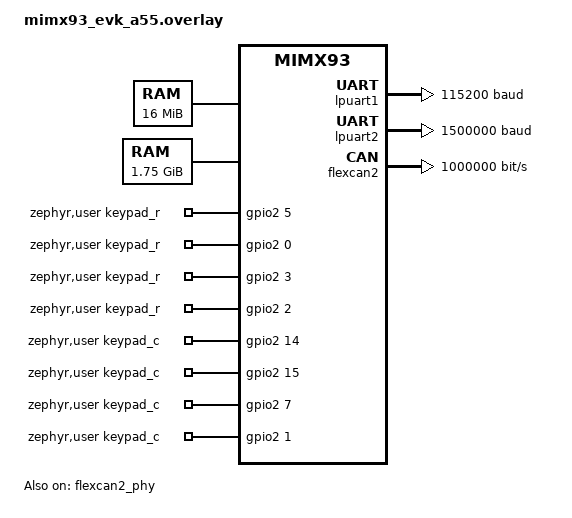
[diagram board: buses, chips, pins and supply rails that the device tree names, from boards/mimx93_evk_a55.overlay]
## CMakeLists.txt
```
# SPDX-License-Identifier: Apache-2.0

cmake_minimum_required(VERSION 3.20.0)

find_package(Zephyr REQUIRED HINTS $ENV{ZEPHYR_BASE})
project(ebike_data_source)

FILE(GLOB app_sources
    src/*.c
)

target_include_directories(app PRIVATE
    src
)

target_sources(app PRIVATE ${app_sources})
```

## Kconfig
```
# Copyright (c) 2022 Henrik Brix Andersen <henrik@brixandersen.dk>
# SPDX-License-Identifier: Apache-2.0

menu "Ebike data source demo"

config EDS_CAN_FRAME_ID_BASE
	hex "CAN ID"
	default 0x100
	range 0x000 0x7fd
	help
	  CAN frame id base. 3 CAN frame ids are used in this demo.

config EDS_CAN_FD_MODE
	bool "Send CAN-FD format frames"
	select CAN_FD_MODE
    default n
	help
	  Selects CAN_FD_MODE

config EDS_COMM_WFM_OUT
	bool "Send simulation data to draw waveform"
	default n
	help
	  Send simulation data via selected uart to draw waveform

module = EDS_MAIN
module-str = ebike data source main thread
source "subsys/logging/Kconfig.template.log_config"

module = EDS_COMM
module-str = ebike data source comm thread
source "subsys/logging/Kconfig.template.log_config"

endmenu

source "Kconfig.zephyr"
```

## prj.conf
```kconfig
## DEVICE ##
CONFIG_PINCTRL=y
CONFIG_PINCTRL_DYNAMIC=y
CONFIG_CLOCK_CONTROL=y
CONFIG_GPIO=y
CONFIG_SERIAL=y
CONFIG_UART_INTERRUPT_DRIVEN=y
CONFIG_I2C=y
CONFIG_I2C_CALLBACK=y
CONFIG_CAN=y
CONFIG_CAN_FD_MODE=n
CONFIG_CAN_RX_TIMESTAMP=y
CONFIG_GPIO_INIT_PRIORITY=10
CONFIG_I2C_INIT_PRIORITY=15
CONFIG_GPIO_HOGS_INIT_PRIORITY=25
CONFIG_CAN_TRANSCEIVER_INIT_PRIORITY=40
CONFIG_CAN_INIT_PRIORITY=45

## KERNEL ##
CONFIG_XIP=y
CONFIG_USE_DT_CODE_PARTITION=y

CONFIG_SPEED_OPTIMIZATIONS=y
CONFIG_SCHED_SCALABLE=y
CONFIG_WAITQ_SCALABLE=y

CONFIG_PICOLIBC=y
# CONFIG_PICOLIBC_USE_MODULE is not set
CONFIG_COMMON_LIBC_MALLOC_ARENA_SIZE=67108864

CONFIG_MAIN_STACK_SIZE=16384
CONFIG_SYSTEM_WORKQUEUE_STACK_SIZE=16384
CONFIG_HEAP_MEM_POOL_SIZE=16777216

CONFIG_EVENTS=y
CONFIG_NOTIFY=y
CONFIG_PRINTK_SYNC=y
CONFIG_CBPRINTF_LIBC_SUBSTS=y

## SHELL ##
CONFIG_CONSOLE=y
CONFIG_UART_CONSOLE=y
CONFIG_LOG=y
CONFIG_LOG_MAX_LEVEL=3
CONFIG_LOG_DEFAULT_LEVEL=2
CONFIG_LOG_SPEED=y
CONFIG_SHELL=y
CONFIG_SHELL_PROMPT_UART="zephyr:~$ "
CONFIG_SHELL_BACKEND_SERIAL_LOG_MESSAGE_QUEUE_TIMEOUT=1000
CONFIG_SHELL_BACKEND_SERIAL_LOG_MESSAGE_QUEUE_SIZE=4096
CONFIG_SHELL_STACK_SIZE=16384

## EDS ##
CONFIG_EDS_CAN_FRAME_ID_BASE=0x100
CONFIG_EDS_COMM_WFM_OUT=y
CONFIG_EDS_MAIN_LOG_LEVEL_WRN=y
CONFIG_EDS_COMM_LOG_LEVEL_WRN=y
```

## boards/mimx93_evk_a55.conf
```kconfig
CONFIG_GPIO_ADP5585_GPIO_INIT_PRIORITY=20
```

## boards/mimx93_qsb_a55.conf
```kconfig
CONFIG_GPIO_PCA_SERIES_INIT_PRIORITY=20
```

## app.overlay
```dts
/delete-node/ &sram0;

/{
    chosen{
        zephyr,console = &lpuart1;
        zephyr,shell-uart = &lpuart1;
        zephyr,code-partition = &sram0;
        zephyr,sram = &sram1;
        zephyr,canbus = &flexcan2;
        zephyr,display = &lcdif;
    };

    sram0: memory@80200000 {
        reg = <0x80200000 DT_SIZE_M(16)>;
    };

    sram1: memory@81200000 {
        reg = <0x81200000 DT_SIZE_M(1792)>;
    };

};

&gpiohog_exp_sel {
    output-low;
};

&flexcan2_phy {
    status = "okay";
};

&flexcan2 {
	bus-speed = <1000000>;
    status = "okay";
};
```

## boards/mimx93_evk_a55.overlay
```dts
/delete-node/ &sram0;

/{
    chosen{
        zephyr,console = &lpuart1;
        zephyr,shell-uart = &lpuart1;
        zephyr,code-partition = &sram0;
        zephyr,sram = &sram1;
        zephyr,canbus = &flexcan2;
    };

    sram0: memory@80200000 {
        reg = <0x80200000 DT_SIZE_M(16)>;
    };

    sram1: memory@81200000 {
        reg = <0x81200000 DT_SIZE_M(1792)>;
    };

    zephyr,user {
        wfm_out_uart = <&lpuart2>;
        keypad_r_gpios = <&gpio2  5 GPIO_ACTIVE_HIGH>,
                        <&gpio2  0 GPIO_ACTIVE_HIGH>,
                        <&gpio2  3 GPIO_ACTIVE_HIGH>,
                        <&gpio2  2 GPIO_ACTIVE_HIGH>;
        keypad_c_gpios = <&gpio2 14 GPIO_ACTIVE_HIGH>,
                        <&gpio2 15 GPIO_ACTIVE_HIGH>,
                        <&gpio2  7 GPIO_ACTIVE_HIGH>,
                        <&gpio2  1 GPIO_ACTIVE_HIGH>;
    };

};

&gpiohog_exp_sel {
    output-low;
};

&lpuart1 {
	current-speed = <115200>;
};

&lpuart2 {
    current-speed = <1500000>;
};

&flexcan2_phy {
    status = "okay";
};

&flexcan2 {
	bus-speed = <1000000>;
    status = "okay";
};
```

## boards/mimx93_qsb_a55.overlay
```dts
/delete-node/ &sram0;

/{
    chosen{
        zephyr,console = &lpuart1;
        zephyr,shell-uart = &lpuart1;
        zephyr,code-partition = &sram0;
        zephyr,sram = &sram1;
        zephyr,canbus = &flexcan1;
    };

    sram0: memory@80200000 {
        reg = <0x80200000 DT_SIZE_M(16)>;
    };

    sram1: memory@81200000 {
        reg = <0x81200000 DT_SIZE_M(1792)>;
    };

    zephyr,user {
        wfm_out_uart = <&lpuart2>;
        keypad_r_gpios = <&gpio2  5 GPIO_ACTIVE_HIGH>,
                        <&gpio2  0 GPIO_ACTIVE_HIGH>,
                        <&gpio2  3 GPIO_ACTIVE_HIGH>,
                        <&gpio2  2 GPIO_ACTIVE_HIGH>;
        keypad_c_gpios = <&gpio2 14 GPIO_ACTIVE_HIGH>,
                        <&gpio2 15 GPIO_ACTIVE_HIGH>,
                        <&gpio2 20 GPIO_ACTIVE_HIGH>,
                        <&gpio2 21 GPIO_ACTIVE_HIGH>;
    };

};

&gpiohog_mic_can_sel {
    output-high;
};

&gpiohog_exp_sel {
    output-high;
};

&lpuart1 {
	current-speed = <115200>;
};

&lpuart2 {
    current-speed = <1500000>;
};

&flexcan1_phy {
    status = "okay";
};

&flexcan1 {
	bus-speed = <1000000>;
    status = "okay";
};
```

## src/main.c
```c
/*
 * Copyright 2023-2024 NXP
 *
 * SPDX-License-Identifier: Apache-2.0
 */

#include <zephyr/kernel.h>
#include <zephyr/device.h>
#include <zephyr/drivers/gpio.h>
#include <zephyr/drivers/can.h>
#include <zephyr/drivers/display.h>
#include <zephyr/drivers/i2c.h>
#include <zephyr/sys/util.h>
#include <zephyr/sys/printk.h>
#include <zephyr/logging/log.h>
#include <zephyr/shell/shell.h>
#include <inttypes.h>
#include <stdio.h>
#include <string.h>

#include "comm.h"

LOG_MODULE_REGISTER(main, CONFIG_EDS_MAIN_LOG_LEVEL);

#ifdef CONFIG_EDC_USER_INPUT
BUILD_ASSERT(DT_PROP_LEN(DT_PATH(zephyr_user), keypad_r_gpios) == 4U,
	"keypad_gpio_r must have 4 elements");
const struct gpio_dt_spec keypad_gpio_r[] =
{
	DT_FOREACH_PROP_ELEM_SEP(DT_PATH(zephyr_user), keypad_r_gpios,
                                     GPIO_DT_SPEC_GET_BY_IDX, (,))
};

BUILD_ASSERT(DT_PROP_LEN(DT_PATH(zephyr_user), keypad_c_gpios) == 4U,
	"keypad_gpio_c must have 4 elements");
const struct gpio_dt_spec keypad_gpio_c[] =
{
	DT_FOREACH_PROP_ELEM_SEP(DT_PATH(zephyr_user), keypad_c_gpios,
                                     GPIO_DT_SPEC_GET_BY_IDX, (,))
};
#endif // CONFIG_EDC_USER_INPUT

typedef struct _keypad_4x4
{
	const struct gpio_dt_spec *gpio_r;
	const struct gpio_dt_spec *gpio_c;
	uint16_t shadow, data;
}keypad_4x4_t;

int keypad_4x4_init(keypad_4x4_t *kp)
{
	int ret = 0;
	for (int i = 0; i < 4; ++i)
	{
		ret = gpio_pin_configure_dt(&kp->gpio_r[i], GPIO_OUTPUT_ACTIVE);
		if(ret)
			LOG_ERR("keypad init fail R%d", i);
		ret = gpio_pin_configure_dt(&kp->gpio_c[i], GPIO_INPUT);
		if(ret)
			LOG_ERR("keypad init fail C%d", i);
	}
	return 0;
}

void keypad_4x4_select_row(keypad_4x4_t *kp, uint8_t row_mask)
{
	for (int i = 0; i < 4; ++i)
	{
		if(row_mask & BIT(i))
		{
			gpio_pin_set_dt(&kp->gpio_r[i], 1);
		}
		else
		{
			gpio_pin_set_dt(&kp->gpio_r[i], 0);
		}
	}
}

void keypad_4x4_scan(keypad_4x4_t *kp)
{
	kp->shadow = kp->data;
	kp->data = 0U;

	LOG_DBG("keypad scan");

	for (int i = 0; i < 4; ++i)
	{
		keypad_4x4_select_row(kp, BIT(i));
		k_busy_wait(100);
		for (int j = 0; j < 4; ++j)
		{
			if(gpio_pin_get_dt(&kp->gpio_c[j]))
			{
				kp->data |= BIT(i * 4 + j);
				LOG_DBG("keypad %2.2d pressed", i * 4 + j);
			}
		}
	}
	keypad_4x4_select_row(kp, 0b1111);
}

#define KEYPAD_FOREACH_KEY(keys_u16, state_b, op) \
	for (int keys_u16##_i = 0; keys_u16##_i < 16; ++keys_u16##_i) { \
		if ((keys_u16 >> keys_u16##_i) & 0x1 == state_b) { \
			op; \
		} \
	}


k_tid_t tid_main;

#ifdef CONFIG_EDC_USER_INPUT
keypad_4x4_t keypad =
{
	.gpio_r = keypad_gpio_r,
	.gpio_c = keypad_gpio_c,
	.shadow = 0U,
	.data = 0U,
};
#endif // CONFIG_EDC_USER_INPUT

eds_comm_t eds_comm;
K_THREAD_STACK_DEFINE(eds_comm_thread_stack, EDS_COMM_THREAD_STACK_SIZE);
struct k_thread eds_comm_thread;

int main(void)
{
	int ret = 0;
	tid_main = k_current_get();
	struct k_timer kpScan_timer;

	printk("**** ebike data source demo ****\n"
	);

	LOG_INF("spawn eds_com thread");

	/**
	 * create eds_comm thread as cooperative thread, then
	 * yield() to let it run first. It will set itself to
	 * a lower priority preemptive thread once initialized.
	 */
	k_thread_create(&eds_comm_thread, eds_comm_thread_stack,
        EDS_COMM_THREAD_STACK_SIZE,
        (k_thread_entry_t)EDS_CommTask, (void*)&eds_comm, NULL, NULL,
        EDS_COMM_THREAD_START_PRIO, 0, K_NO_WAIT
    );
	k_yield();
	LOG_INF("main thread resume");

#ifdef CONFIG_EDC_USER_INPUT
	keypad_4x4_init(&keypad);
#endif // CONFIG_EDC_USER_INPUT

	k_timer_init(&kpScan_timer, NULL, NULL);
	k_timer_start(&kpScan_timer, K_MSEC(10), K_MSEC(10));

	while (true)
	{
#ifdef CONFIG_EDC_USER_INPUT
		static uint8_t key_hold_timer[16];
		/** only enable long press for SP and SN */
		const uint16_t key_hold_enable = eds_comm_keyCode_SP | eds_comm_keyCode_SN;
#endif // CONFIG_EDC_USER_INPUT

		/** wait for kpScan_timer to trigger scan */
		k_timer_status_sync(&kpScan_timer);

#ifdef CONFIG_EDC_USER_INPUT
		keypad_4x4_scan(&keypad);
		uint16_t key_pressed = (keypad.data ^ keypad.shadow) & keypad.data;
		KEYPAD_FOREACH_KEY(key_pressed, 1, {key_hold_timer[key_pressed_i] = 0U; })
		uint16_t key_released = (keypad.data ^ keypad.shadow) & keypad.shadow;
		uint16_t key_hold = keypad.data & keypad.shadow & key_hold_enable;
		KEYPAD_FOREACH_KEY(key_hold, 1, {
			key_hold_timer[key_hold_i] ++;
			if (key_hold_timer[key_hold_i] > 24)
			{
				key_released |= BIT(key_hold_i);
				key_hold_timer[key_hold_i] = 0U;
			}
		})
		EDS_CommKeyInput(&eds_comm, key_released);
#endif // CONFIG_EDC_USER_INPUT
	}

	return 0;
}
```

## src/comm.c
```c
/*
* Copyright 2023-2024 NXP
*
* SPDX-License-Identifier: Apache-2.0
*/

#include "comm.h"

#include <zephyr/logging/log.h>
LOG_MODULE_REGISTER(eds_control, CONFIG_EDS_COMM_LOG_LEVEL);

struct can_filter const eds_comm_canRxFilter[] =
{
    {
        .flags = CAN_FILTER_DATA,
        .id = eds_comm_msg_timeSync,
        .mask = CAN_STD_ID_MASK,
    },
};

const char* eds_comm_drive_mode_name[] =
{
    "eds_driveMode_off",
    "eds_driveMode_lock",
    //"eds_driveMode_eco",
    "eds_driveMode_normal",
    //"eds_driveMode_rain",
    "eds_driveMode_sport",
};

void EDS_CommCanBusRxCb(struct device const *const dev, struct can_frame *frame, void *userData)
{

    eds_comm_t * const comm = (eds_comm_t*)userData;
    LOG_DBG("can rx frame: id=0x%3.3x, dlc=%d\n",
           frame->id, frame->dlc);

    switch (frame->id)
    {
    case eds_comm_msg_timeSync:
        /** send local timestamp */
        comm->state.ts_recv = k_cyc_to_us_near32(k_cycle_get_64());
        k_work_submit_to_queue(&comm->work_q, &comm->ts_work);
        break;
    default:
        break;
    }
}

void EDS_CommCanBusTxCb(struct device const *const dev, int32_t error, void *userData)
{
    eds_comm_t * const comm = (eds_comm_t*)userData;
    if (error != 0)
    {
        LOG_ERR("can tx error [%d]", error);
    }
}

int32_t EDS_CommCanBusSend(eds_comm_t * const comm, struct can_frame * const frame)
{
    return can_send(comm->can_dev, frame, K_FOREVER, EDS_CommCanBusTxCb, comm);
}

int32_t EDS_CommCanBusConfig(eds_comm_t * const comm)
{
    int32_t ret;
    comm->can_dev = DEVICE_DT_GET(DT_CHOSEN(zephyr_canbus));
    if(!device_is_ready(comm->can_dev))
    {
        LOG_ERR("can device not ready [%d]\n", -ENODEV);
        return -ENODEV;
    }

    struct can_timing timing;
    ret = can_stop(comm->can_dev);
    ret = can_calc_timing(comm->can_dev, &timing, 1000000, 875);
    ret = can_set_timing(comm->can_dev, &timing);
#ifdef CONFIG_CAN_FD_MODE
    ret = can_calc_timing_data(comm->can_dev, &timing, 2000000, 875);
    ret = can_set_timing_data(comm->can_dev, &timing);
#endif // CONFIG_CAN_FD_MODE
    ret = can_start(comm->can_dev);
    if (ret != 0)
    {
        LOG_ERR("set can timing fail [%d]\n", ret);
    }

    uint32_t const filter_count = sizeof(eds_comm_canRxFilter) / sizeof(struct can_filter);
    for(uint32_t i = 0U; i < filter_count; ++i)
    {
        ret = can_add_rx_filter(comm->can_dev, EDS_CommCanBusRxCb, comm, &eds_comm_canRxFilter[i]);
        if(comm->can_filterId < 0)
        {
            LOG_ERR("add can filter fail [%d]\n", ret);
            return ret;
        }
        comm->can_filterId[i] = ret;
    }

    return 0;
}

int EDS_CommSendSequence(eds_comm_t *const comm, eds_commSeq_t const * seq)
{
    int ret = 0;
    size_t len = 0U;
    struct can_frame frame;

#ifdef CONFIG_CAN_FD_MODE
	frame.flags = CAN_FRAME_FDF | CAN_FRAME_BRS;
#else
	frame.flags = 0U;
#endif // CONFIG_CAN_FD_MODE

    while(true)
    {
        switch (seq[len].msg)
        {
        case eds_comm_msg_sleep:
            k_sleep(K_MSEC(seq[len].data[0]));
            break;
        case eds_comm_msg_abort:
            return 0;
        case eds_comm_msg_timeSync:
            uint64_t time_64 = k_uptime_get();
            frame.id = seq[len].msg;
            memcpy(&frame.data, &time_64, 8U);
            frame.dlc = 8U;
            ret = EDS_CommCanBusSend(comm, &frame);
            if (ret)
            {
                LOG_ERR("send fail at seq %d [%d]", len, ret);
            }
            break;
        default:
            frame.id = seq[len].msg;
            memcpy(&frame.data, seq[len].data, 8U);
            frame.dlc = 8U;
            ret = EDS_CommCanBusSend(comm, &frame);
            if (ret)
            {
                LOG_ERR("send fail at seq %d [%d]", len, ret);
            }
            break;
        }

        ++len;
    }

    return -EINVAL; // should never reach here
}

#ifdef CONFIG_EDS_COMM_WFM_OUT
void EDS_CommSendUartStr(eds_comm_t *const comm, char *str)
{
	int msg_len = strlen(str);

	for (int i = 0; i < msg_len; i++) {
		uart_poll_out(comm->uart_dev, str[i]);
	}

	//printk("Device %s sent: \"%s\"\n", uart->name, str);
}
#endif // CONFIG_EDS_COMM_WFM_OUT

void EDS_CommKineticsModelUpdate(eds_comm_t *const comm)
{
    static int demo_frame = 0;
    if(comm->state.is_demo == true)
    {
        switch (demo_frame)
        {
        case (2000 / EDS_CAN_FRAME_INTERVAL_MS):
            comm->state.drive_mode = eds_driveMode_lock;
            break;
        case (3000 / EDS_CAN_FRAME_INTERVAL_MS):
            comm->state.drive_mode = eds_driveMode_normal;
            break;
        case (3500 / EDS_CAN_FRAME_INTERVAL_MS):
            comm->state.target_accel = 250;
            break;
        case (8000 / EDS_CAN_FRAME_INTERVAL_MS):
            comm->state.target_accel = 1000;
            break;
        case (12000 / EDS_CAN_FRAME_INTERVAL_MS):
            comm->state.target_accel = 2000;
            break;
        case (16000 / EDS_CAN_FRAME_INTERVAL_MS):
            comm->state.target_accel = 3000;
            break;
        case (19000 / EDS_CAN_FRAME_INTERVAL_MS):
            comm->state.drive_mode = eds_driveMode_sport;
            break;
        case (20000 / EDS_CAN_FRAME_INTERVAL_MS):
            comm->state.target_accel = 9000;
            break;
        case (24000 / EDS_CAN_FRAME_INTERVAL_MS):
            comm->state.target_accel = 15000;
            break;
        case (27000 / EDS_CAN_FRAME_INTERVAL_MS):
            comm->state.target_accel = 18000;
            break;
        case (30000 / EDS_CAN_FRAME_INTERVAL_MS):
            comm->state.target_accel = 20000;
            break;
        case (33000 / EDS_CAN_FRAME_INTERVAL_MS):
            comm->state.target_accel = 16000;
            break;
        case (36000 / EDS_CAN_FRAME_INTERVAL_MS):
            comm->state.target_accel = 8000;
            break;
        case (40000 / EDS_CAN_FRAME_INTERVAL_MS):
            comm->state.target_accel = 10000;
            break;
        case (48000 / EDS_CAN_FRAME_INTERVAL_MS):
            comm->state.drive_mode = eds_driveMode_normal;
            comm->state.target_accel = 6000;
            break;
        case (50000 / EDS_CAN_FRAME_INTERVAL_MS):
            comm->state.target_accel = 4000;
            break;
        case (52000 / EDS_CAN_FRAME_INTERVAL_MS):
            comm->state.target_accel = 2000;
            break;
        case (54000 / EDS_CAN_FRAME_INTERVAL_MS):
            comm->state.target_accel = 0;
            break;
        case (58000 / EDS_CAN_FRAME_INTERVAL_MS):
            comm->state.drive_mode = eds_driveMode_off;
            break;

        }

        demo_frame = (++demo_frame) % (60 * 1000 / EDS_CAN_FRAME_INTERVAL_MS);
    }
    //else if(comm->state.drive_mode == eds_driveMode_sport)
    //{
    //    comm->state.curr_speed = ((double)comm->state.target_accel) * 2.25;
    //    /** let's assume accel_ctrl_err = 0 to prevent issue */
    //    comm->kinetics.accel_ctrl_err = 0;
    //    comm->kinetics.accel_ctrl_err_intg = 0;
    //    comm->state.nominal_accel = comm->state.curr_speed * comm->kinetics.deccel_coeff
    //                     + comm->state.curr_speed * comm->state.curr_speed * comm->kinetics.deccel_coeff_2;
    //    return;
    //}

    /** calculate PI controller */
    comm->kinetics.accel_ctrl_err = (comm->state.target_accel - comm->state.nominal_accel);
    comm->kinetics.accel_ctrl_err_intg += comm->kinetics.accel_ctrl_err;
    double nominal_accel_control = comm->kinetics.accel_ctrl_err * comm->kinetics.accel_ctrl_kp
                     + comm->kinetics.accel_ctrl_err_intg * comm->kinetics.accel_ctrl_ki;
    comm->state.nominal_accel += nominal_accel_control;

    /** calculate real accel, consider swing */
    int32_t real_accel = comm->state.nominal_accel; //TODO use rand() to randomize this

    /** calculate drag deccel */
    int32_t real_deccel = comm->kinetics.deccel_coeff * comm->state.curr_speed
                         + comm->kinetics.deccel_coeff_2 * comm->state.curr_speed * comm->state.curr_speed;

    /** calculate curr_speed */
    comm->state.curr_speed = comm->state.curr_speed + real_accel - real_deccel;
    if (comm->state.curr_speed < 0)
    {
        comm->state.curr_speed = 0;
        comm->kinetics.accel_ctrl_err = 0;
        comm->kinetics.accel_ctrl_err_intg = 0;
    }
    else if(comm->state.curr_speed > 56000)
    {
        comm->state.curr_speed = 50000;
    }

#ifdef CONFIG_EDS_COMM_WFM_OUT
    static char str_buf[256];

    snprintf(str_buf, 256,
        "target_accel=%d,"
        "real_accel=%d,"
        "accel_err=%d,"
        "real_deccel=%d,"
        "curr_speed=%d,"
        "\r\n"
        , comm->state.target_accel
        , real_accel
        , comm->kinetics.accel_ctrl_err
        , real_deccel
        , comm->state.curr_speed
    );
    EDS_CommSendUartStr(comm, str_buf);
#endif // CONFIG_EDS_COMM_WFM_OUT
}

void EDS_CommKeyInput(eds_comm_t *const comm, uint16_t keycode)
{
    k_mutex_lock(&comm->lock, K_FOREVER);

    if(comm->state.is_demo == true && keycode != 0)
    {
        comm->state.is_demo = false;
        comm->state.drive_mode = eds_driveMode_off;
        comm->state.target_accel = 0;
        comm->state.nominal_accel = 0;
        comm->state.curr_speed = 0;
        comm->kinetics.accel_ctrl_err = 0;
        comm->kinetics.accel_ctrl_err_intg = 0;
        LOG_INF("demo mode exit");
        k_mutex_unlock(&comm->lock);
        return;
    }

    if (keycode & eds_comm_keyCode_MP && !(keycode & eds_comm_keyCode_MN)
        && comm->state.drive_mode < eds_driveMode_sport)
    {
        comm->state.drive_mode ++;
        LOG_DBG("drive mode +, curr %s", eds_comm_drive_mode_name[comm->state.drive_mode]);
    }
    if (keycode & eds_comm_keyCode_MN && !(keycode & eds_comm_keyCode_MP)
        && comm->state.drive_mode > eds_driveMode_off)
    {
        if(comm->state.drive_mode == eds_driveMode_lock + 1)
        {
            comm->state.drive_mode -= 2;
        }
        else
        {
            comm->state.drive_mode --;
        }
        if(comm->state.drive_mode == eds_driveMode_off)
        {
            comm->state.target_accel = 0;
        }
        LOG_DBG("drive mode -, curr %s", eds_comm_drive_mode_name[comm->state.drive_mode]);
    }


    if (keycode & eds_comm_keyCode_SP && !(keycode & eds_comm_keyCode_SN)
        && comm->state.drive_mode > eds_driveMode_lock
        && comm->state.target_accel < 20000)
    {
        if(comm->state.drive_mode == eds_driveMode_sport)
        {
            comm->state.target_accel += 1000;
            comm->state.target_accel -= comm->state.target_accel % 1000;
        }
        else
        {
            comm->state.target_accel += 250;
        }
        LOG_DBG("speed +250, curr %d", comm->state.target_accel);
    }
    if (keycode & eds_comm_keyCode_SN && !(keycode & eds_comm_keyCode_SP)
        && comm->state.drive_mode > eds_driveMode_lock
        && comm->state.target_accel != 0)
    {
        if(comm->state.drive_mode == eds_driveMode_sport)
        {
            comm->state.target_accel -= 1000;
            comm->state.target_accel -= comm->state.target_accel % 1000;
        }
        else
        {
            comm->state.target_accel -= 250;
        }
        LOG_DBG("speed -250, curr %d", comm->state.target_accel);
    }

    k_mutex_unlock(&comm->lock);
}

void EDS_CommTsWork(struct k_work *item)
{
    int ret;
    eds_comm_t *comm =
        CONTAINER_OF(item, eds_comm_t, ts_work);
    LOG_DBG("timesync work");

        static struct can_frame frame = {
#ifdef CONFIG_CAN_FD_MODE
	    .flags = CAN_FRAME_FDF | CAN_FRAME_BRS,
#else
	    .flags = 0U,
#endif // CONFIG_CAN_FD_MODE
        .id = eds_comm_msg_timeSync,
        .dlc = 8U,
    };
    frame.data_32[0] = comm->state.ts_recv;
    frame.data_32[1] = k_cyc_to_us_near32(k_cycle_get_64());

    ret = EDS_CommCanBusSend(comm, &frame);

}

K_THREAD_STACK_DEFINE(eds_comm_wq_stack, EDS_COMM_WQ_STACK_SIZE);

void EDS_CommTask(eds_comm_t *const comm, void* p2, void* p3)
{
    int32_t ret;
    struct can_frame frame;

    LOG_INF("eds comm task\n");
    comm->thread_id = k_current_get();

    k_mutex_init(&comm->lock);

    comm->state.is_demo = true;
    comm->state.drive_mode = eds_driveMode_off;
    comm->state.target_accel = 0;
    comm->state.nominal_accel = 0;
    comm->state.curr_speed = 0;

    comm->kinetics.deccel_coeff = 0.00175;
    comm->kinetics.deccel_coeff_2 = 0.00001;
    comm->kinetics.accel_swing_permillage = 50;
    comm->kinetics.accel_ctrl_kp = 0.04;
    comm->kinetics.accel_ctrl_ki = 0.0005;
    comm->kinetics.accel_ctrl_err = 0;
    comm->kinetics.accel_ctrl_err_intg = 0;

    k_work_queue_init(&comm->work_q);
    k_work_queue_start(&comm->work_q, eds_comm_wq_stack,
                   EDS_COMM_WQ_STACK_SIZE, EDS_COMM_THREAD_PRIO + 1,
                   NULL);

    k_work_init(&comm->ts_work, EDS_CommTsWork);

    k_timer_init(&comm->send_timer, NULL, NULL);

    ret = EDS_CommCanBusConfig(comm);
    if(ret != 0)
    {
        return;
    }
#ifdef CONFIG_CAN_FD_MODE
	frame.flags = CAN_FRAME_FDF | CAN_FRAME_BRS;
#else
	frame.flags = 0U;
#endif // CONFIG_CAN_FD_MODE

#ifdef CONFIG_EDS_COMM_WFM_OUT
    comm->uart_dev = DEVICE_DT_GET(DT_PROP(DT_PATH(zephyr_user), wfm_out_uart));
    if(!device_is_ready(comm->uart_dev))
    {
        LOG_ERR("uart device not ready [%d]\n", -ENODEV);
        return;
    }
#endif // CONFIG_EDS_COMM_WFM_OUT

    LOG_INF("eds comm can ok\n");

    k_timer_start(&comm->send_timer,
        K_MSEC(EDS_CAN_FRAME_INTERVAL_MS),
        K_MSEC(EDS_CAN_FRAME_INTERVAL_MS)
    );

    /** return to normal priority */
    k_thread_priority_set(k_current_get(), EDS_COMM_THREAD_PRIO);

    while (true)
    {
        /** wait for send_timer to trigger send */
		k_timer_status_sync(&comm->send_timer);
        k_mutex_lock(&comm->lock, K_FOREVER);

        /** send can frame to set drive_mode */
        frame.id = eds_comm_msg_driveMode;
        frame.data_32[0] = comm->state.drive_mode;
        frame.dlc = 4U;
        ret = EDS_CommCanBusSend(comm, &frame);
        LOG_INF("send driveMode %d", comm->state.drive_mode);

        /** send can frame to set curr_speed */
        EDS_CommKineticsModelUpdate(comm);
        frame.id = eds_comm_msg_currSpeed;
        frame.data_32[0] = comm->state.curr_speed;
        frame.dlc = 4U;
        ret = EDS_CommCanBusSend(comm, &frame);
        LOG_INF("send currSpeed %d", comm->state.curr_speed);

        k_mutex_unlock(&comm->lock);
    }

}


eds_commSeq_t const seq_anim1[] =
{
    EDS_COMM_SEQ_SEND(driveMode, EDS_DRIVEMODE_GEN(normal, off, na, off), 0), // normal, off, off, off
    EDS_COMM_SEQ_SEND(currSpeed, 0, 0),
    EDS_COMM_SEQ_SEND(timeSync, 0, 0),
    EDS_COMM_SEQ_SLEEP(3000),

    EDS_COMM_SEQ_SEND(currSpeed, 1895, 0),
    EDS_COMM_SEQ_SEND(timeSync, 0, 0),
    EDS_COMM_SEQ_SLEEP(250),

    EDS_COMM_SEQ_SEND(currSpeed, 3650, 0),
    EDS_COMM_SEQ_SEND(timeSync, 0, 0),
    EDS_COMM_SEQ_SLEEP(250),

    EDS_COMM_SEQ_SEND(currSpeed, 10350, 0),
    EDS_COMM_SEQ_SEND(timeSync, 0, 0),
    EDS_COMM_SEQ_SLEEP(250),

    EDS_COMM_SEQ_SEND(currSpeed, 12457, 0),
    EDS_COMM_SEQ_SEND(timeSync, 0, 0),
    EDS_COMM_SEQ_SLEEP(250),

    EDS_COMM_SEQ_SEND(currSpeed, 13106, 0),
    EDS_COMM_SEQ_SEND(timeSync, 0, 0),
    EDS_COMM_SEQ_SLEEP(250),

    EDS_COMM_SEQ_SEND(currSpeed, 10507, 0),
    EDS_COMM_SEQ_SEND(timeSync, 0, 0),
    EDS_COMM_SEQ_SLEEP(250),

    EDS_COMM_SEQ_SEND(driveMode, EDS_DRIVEMODE_GEN(sport, day, na, dimm), 0), // sport day, off, dimm
    EDS_COMM_SEQ_SEND(currSpeed, 11306, 0),
    EDS_COMM_SEQ_SEND(timeSync, 0, 0),
    EDS_COMM_SEQ_SLEEP(250),

    EDS_COMM_SEQ_SEND(currSpeed, 14601, 0),
    EDS_COMM_SEQ_SEND(timeSync, 0, 0),
    EDS_COMM_SEQ_SLEEP(250),

    EDS_COMM_SEQ_SEND(currSpeed, 19480, 0),
    EDS_COMM_SEQ_SEND(timeSync, 0, 0),
    EDS_COMM_SEQ_SLEEP(250),

    EDS_COMM_SEQ_SEND(currSpeed, 25433, 0),
    EDS_COMM_SEQ_SEND(timeSync, 0, 0),
    EDS_COMM_SEQ_SLEEP(250),

    EDS_COMM_SEQ_ABORT,
};
```

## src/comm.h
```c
/*
 * Copyright 2023-2024 NXP
 *
 * SPDX-License-Identifier: Apache-2.0
 */

#ifndef __EDS_COMM_H_
#define __EDS_COMM_H__

#include <stdint.h>
#include <stdlib.h>
#include <assert.h>
#include <string.h>

#include <zephyr/kernel.h>
#include <zephyr/kernel_structs.h>
#include <zephyr/spinlock.h>
#include <zephyr/sys/slist.h>
#include <zephyr/device.h>
#include <zephyr/devicetree.h>
#include <zephyr/drivers/can.h>
#include <zephyr/drivers/gpio.h>
#include <zephyr/drivers/uart.h>

#include "model.h"

#define EDS_COMM_THREAD_PRIO (5)
#define EDS_COMM_THREAD_START_PRIO (-1)
#define EDS_COMM_THREAD_STACK_SIZE (0x4000U)
#define EDS_COMM_WQ_STACK_SIZE (0x800U)

#define CONFIG_EDS_COMM_WFM_OUT (1)
#define CONFIG_EDS_COMM_WFM_OUT_DEVICE lpuart2

#define EDS_CAN_FRAME_INTERVAL_MS (50)

typedef enum _eds_comm_msg
{
    eds_comm_msg_sleep = 0x000,
    eds_comm_msg_abort = 0xfff,

    eds_comm_msg_timeSync =     CONFIG_EDS_CAN_FRAME_ID_BASE + 0,
    eds_comm_msg_driveMode =    CONFIG_EDS_CAN_FRAME_ID_BASE + 1,
    eds_comm_msg_currSpeed =    CONFIG_EDS_CAN_FRAME_ID_BASE + 2,
} eds_comm_msg_t;

typedef enum _eds_driveMode
{
    eds_driveMode_off = 0U,
    eds_driveMode_lock, // child lock / protection
    //eds_driveMode_eco,
    eds_driveMode_normal,
    //eds_driveMode_rain,
    eds_driveMode_sport,
} eds_driveMode_t;

typedef enum _eds_lightMode
{
    /** main light */
    eds_lightMode_main_off =    0b00U,
    eds_lightMode_main_day =    0b01U,
    eds_lightMode_main_on =     0b10U,
    eds_lightMode_main_max =    0b11U,
    /** turn light */
    eds_lightMode_turn_na =     0b00U,
    eds_lightMode_turn_lt =     0b10U,
    eds_lightMode_turn_rt =     0b01U,
    /** rear light */
    eds_lightMode_rear_off =    0b00U,
    eds_lightMode_rear_dimm =   0b01U,
    eds_lightMode_rear_bright = 0b10U,
} eds_lightMode_t;

#define EDS_DRIVEMODE_GEN(mode, mainLight, turnLight, rearLight) \
    (uint32_t)( ((eds_driveMode_##mode) << 0) \
              | ((eds_lightMode_main_##mainLight) << 3) \
              | ((eds_lightMode_turn_##turnLight) << 5) \
              |  ((eds_lightMode_rear_##rearLight) << 7) \
    )

typedef struct _eds_comm
{
    k_tid_t thread_id;
    struct device const *can_dev;
    uint32_t can_filterId[8];
    struct k_mutex lock;
    struct k_timer send_timer;
    struct k_work_q work_q;
    struct k_work ts_work; /** used for time sync */
#ifdef CONFIG_EDS_COMM_WFM_OUT
    struct device const *uart_dev;
#endif // ! CONFIG_EDS_COMM_WFM_OUT

    struct
    {
        bool is_demo;
        eds_driveMode_t drive_mode;
        int32_t target_accel; /** accel +/- button set nominal_accel, and then apply random swing on it */
        int32_t nominal_accel;
        int32_t curr_speed;
        uint32_t ts_recv;
    }state;

    struct
    {
        double deccel_coeff, deccel_coeff_2;
        int32_t accel_swing_permillage; /** maximum permillage average_accel can randomly swing */
        double accel_ctrl_kp, accel_ctrl_ki;
        int32_t accel_ctrl_err, accel_ctrl_err_intg;
    }kinetics;
} eds_comm_t;

typedef struct _eds_commSeq
{
    eds_comm_msg_t msg;
    uint32_t data[2];
}eds_commSeq_t;


#define EDS_COMM_SEQ_SLEEP(time_ms) \
{ \
    .msg = eds_comm_msg_sleep, \
    .data = {time_ms, 0}, \
}

#define EDS_COMM_SEQ_ABORT \
{ \
    .msg = eds_comm_msg_abort, \
    .data = {0, 0}, \
}

#define EDS_COMM_SEQ_SEND(comm_msg, data0, data1) \
{ \
    .msg = eds_comm_msg_##comm_msg, \
    .data = {data0, data1}, \
}

/**
 * @brief Key code on 4x4 key pad
 *
 * eds_comm_keyCode_MP : mode +
 * eds_comm_keyCode_MN : mode -
 *
 * eds_comm_keyCode_SP : speed +
 * eds_comm_keyCode_SN : speed -
 *
 * eds_comm_keyCode_FL : front light
 * eds_comm_keyCode_RL : rear light
 * eds_comm_keyCode_LT : left trun
 * eds_comm_keyCode_RT : right turn
 *
 */
typedef enum _eds_commKeyCode
{
    eds_comm_keyCode_MP = BIT(0), eds_comm_keyCode_FL = BIT(1), eds_comm_keyCode_SP  = BIT(2), eds_comm_keyCode_3 = BIT(3),
    eds_comm_keyCode_4 = BIT(4), eds_comm_keyCode_LT = BIT(5), eds_comm_keyCode_6 = BIT(6), eds_comm_keyCode_RT = BIT(7),
    eds_comm_keyCode_MN = BIT(8), eds_comm_keyCode_RL = BIT(9), eds_comm_keyCode_SN = BIT(10), eds_comm_keyCode_b = BIT(11),
    eds_comm_keyCode_KP_N = BIT(12), eds_comm_keyCode_KP_P = BIT(13), eds_comm_keyCode_KI_N = BIT(14), eds_comm_keyCode_KI_P = BIT(15),
}eds_commKeyCode_t;

void EDS_CommKeyInput(eds_comm_t *const comm, uint16_t keycode);

void EDS_CommTask(eds_comm_t *const comm, void* p2, void* p3);


#endif //! __EDS_COMM_H__
```

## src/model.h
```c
/*
* Copyright 2023-2024 NXP
*
* SPDX-License-Identifier: Apache-2.0
*/

#ifndef __EDC_MODEL_H__
#define __EDC_MODEL_H__
#include <stdint.h>
#include <stdlib.h>
#include <assert.h>
#include <string.h>

#include <zephyr/kernel.h>
#include <zephyr/kernel_structs.h>
#include <zephyr/spinlock.h>
#include <zephyr/sys/slist.h>

typedef enum _edc_driveMode
{
    edc_driveMode_off = 0U,
    edc_driveMode_lock, // child lock / protection
    edc_driveMode_eco,
    edc_driveMode_normal,
    edc_driveMode_rain,
    edc_driveMode_sport,
} edc_driveMode_t;

typedef enum _edc_lightMode
{
    /** main light */
    edc_lightMode_main_off =    0b00U,
    edc_lightMode_main_day =    0b01U,
    edc_lightMode_main_on =     0b10U,
    edc_lightMode_main_max =    0b11U,
    /** turn light */
    edc_lightMode_turn_na =     0b00U,
    edc_lightMode_turn_lt =     0b10U,
    edc_lightMode_turn_rt =     0b01U,
    /** rear light */
    edc_lightMode_rear_off =    0b00U,
    edc_lightMode_rear_dimm =   0b01U,
    edc_lightMode_rear_bright = 0b10U,
} edc_lightMode_t;

typedef enum _edc_dataFlag
{
    edc_dataFlag_modeFlag = (1U <<  1),
    edc_dataFlag_CurrentSpeed = (1U << 2),
    edc_dataFlag_averageSpeed = (1U << 3),
    edc_dataFlag_distance = (1U << 4),
} edc_dataFlag_t;

//__attribute__((__packed))
struct _edc_data
{
    union
    {
        uint32_t modeFlag;
        struct
        {
            edc_driveMode_t driveMode : 3;
            edc_lightMode_t mainLight : 2;
            edc_lightMode_t turnLight : 2;
            edc_lightMode_t rearLight : 2;
        } modeData;
    };

    int32_t currentSpeed, averageSpeed;
    int32_t distance;
    uint64_t timestamp; // TODO
};

typedef struct _edc_data edc_data_t;

#endif //! __EDC_MODEL_H__
```
